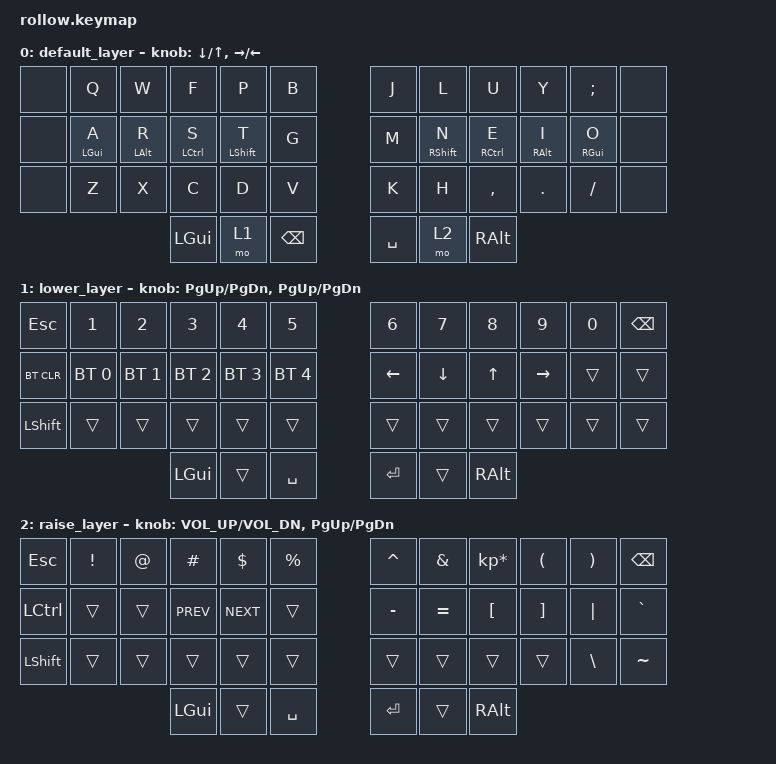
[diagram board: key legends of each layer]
/*
 * Copyright (c) 2020 The ZMK Contributors
 *
 * SPDX-License-Identifier: MIT
 */

#include <behaviors.dtsi>
#include <dt-bindings/zmk/keys.h>
#include <dt-bindings/zmk/bt.h>

#define COL   0
#define COLL  1
#define COLR  2

/ {
        behaviors {
        tp: tap_mods {
            compatible = "zmk,behavior-hold-tap";
            label = "TAP_MODS";
            #binding-cells = <2>;
            tapping_term_ms = <200>;
            flavor = "tap-preferred";
            bindings = <&kp>, <&kp>;
                };
         };


        keymap {
                compatible = "zmk,keymap";

                default_layer {
/* Default
 * .-----------------------------------------.                    .-----------------------------------------.
 * |none  |   Q  |   W  |   E  |   R  |   T  |                    |   Y  |   U  |   I  |   O  |   P  | BKSP |
 * |------+------+------+------+------+------|                    |------+------+------+------+------+------|
 * | none |   A  |   S  |   D  |   F  |   G  |                    |   H  |   J  |   K  |   L  |   ;  |   '  |
 * |------+------+------+------+------+------|                    |------+------+------+------+------+------|
 * | none |   Z  |   X  |   C  |   V  |   B  |-------.    .-------|   N  |   M  |   ,  |   .  |   /  | SHFT |
 * '-----------------------------------------/       /     \      \-----------------------------------------'
 *                          |  GUI |  LWR | / Space /       \ Space\  |TT(RS)| Tab  |
 *                          |      |      |/       /         \      \ |      |      |
 *                          '-------------''------'           '------''-------------'
 *
 *   Encoder Left: Up <-> Down
 *   Encoder Right: Left <-> Right
 */
                        bindings = <
   &none &kp Q &kp W &kp F &kp P &kp B   &kp J &kp L  &kp U     &kp Y   &kp SEMI    &none
   &none &mt LGUI A &mt LALT R &mt LCTRL S &mt LSHIFT T &kp G   &kp M &mt RSHIFT N  &mt RCTRL E     &mt RALT I   &mt RGUI O       &none
   &none &kp Z &kp X &kp C &kp D &kp V   &kp K &kp H  &kp COMMA &kp DOT &kp FSLH    &none
                  &kp LGUI &mo 1 &kp BSPC   &kp SPACE &mo 2 &kp RALT
                        >;

                        sensor-bindings = <&inc_dec_kp DOWN UP &inc_dec_kp RIGHT LEFT>;
                };

                lower_layer {
/* LOWER
 * .-----------------------------------------.                    .-----------------------------------------.
 * |  ESC |   1  |  2   |  3   |  4   |  5   |                    |   6  |   7  |   8  |   9  |   0  | BKSP |
 * |------+------+------+------+------+------|                    |------+------+------+------+------+------|
 * | BTCLR| BT1  | BT2  | BT3  | BT4  | BT5  |                    |  LFT |  DWN |   UP |  RGT |      |      |
 * |------+------+------+------+------+------|                    |------+------+------+------+------+------|
 * | SHFT |      |      |      |      |      |-------.    .-------|      |      |      |      |      |      |
 * '-----------------------------------------/       /     \      \-----------------------------------------'
 *                          |  GUI |      | / Space /       \ Enter\  |      |  ALT |
 *                          |      |      |/       /         \      \ |      |      |
 *                          '-------------''------'           '------''-------------'
 * 
 *   Encoder Left: PG_UP <-> PG_DN
 *   Encoder Right: -
 */
                        bindings = <
   &kp ESC    &kp N1       &kp N2       &kp N3       &kp N4       &kp N5            &kp N6   &kp N7   &kp N8 &kp N9    &kp N0 &kp BSPC
   &bt BT_CLR &bt BT_SEL 0 &bt BT_SEL 1 &bt BT_SEL 2 &bt BT_SEL 3 &bt BT_SEL 4      &kp LEFT &kp DOWN &kp UP &kp RIGHT &trans &trans
   &kp LSHFT  &trans       &trans       &trans       &trans       &trans            &trans   &trans   &trans &trans    &trans &trans
                                        &kp LGUI     &trans       &kp SPACE         &kp RET &trans &kp RALT
                            >;

                            sensor-bindings = <&inc_dec_kp PG_UP PG_DN &inc_dec_kp PG_UP PG_DN>;
                };

                raise_layer {
/* RAISE
 * .-----------------------------------------.                    .-----------------------------------------.
 * | ESC  |   !  |   @  |   #  |   $  |   %  |                    |   ^  |   &  |   *  |   (  |   )  | BKSP |
 * |------+------+------+------+------+------|                    |------+------+------+------+------+------|
 * | CTRL |      |      | Prev | Next |      |                    |   -  |   =  |   {  |   }  |  "|" |   `  |
 * |------+------+------+------+------+------|                    |------+------+------+------+------+------|
 * | SHFT |      |      |      |      |      |-------.    .-------|   _  |   +  |   [  |   ]  |   \  |   ~  |
 * '-----------------------------------------/       /     \      \-----------------------------------------'
 *                          | Play |      | / Space /       \ Enter\  |      |  ALT |
 *                          | Paus |      |/       /         \      \ |      |      |
 *                          '------------''------'            '------''-------------'
 *
 *   Encoder Left: -
 *   Encoder Right: VOL_UP <-> VOL_D
 */
                        bindings = <
    &kp  ESC  &kp EXCL  &kp AT  &kp HASH   &kp DLLR   &kp PRCNT   &kp CARET &kp AMPS  &kp KP_MULTIPLY &kp LPAR &kp RPAR &kp BSPC
    &kp LCTRL &trans    &trans  &kp C_PREV &kp C_NEXT &trans      &kp MINUS &kp EQUAL &kp LBKT        &kp RBKT &kp PIPE &kp GRAVE
    &kp LSHFT &trans    &trans  &trans     &trans     &trans      &trans    &trans    &trans          &trans   &kp BSLH &kp TILDE
                                   &kp LGUI &trans &kp SPACE   &kp RET &trans &kp RALT
                        >;
   
                        sensor-bindings = <&inc_dec_kp C_VOL_UP C_VOL_DN &inc_dec_kp PG_UP PG_DN>;
                };
 
        };
};
